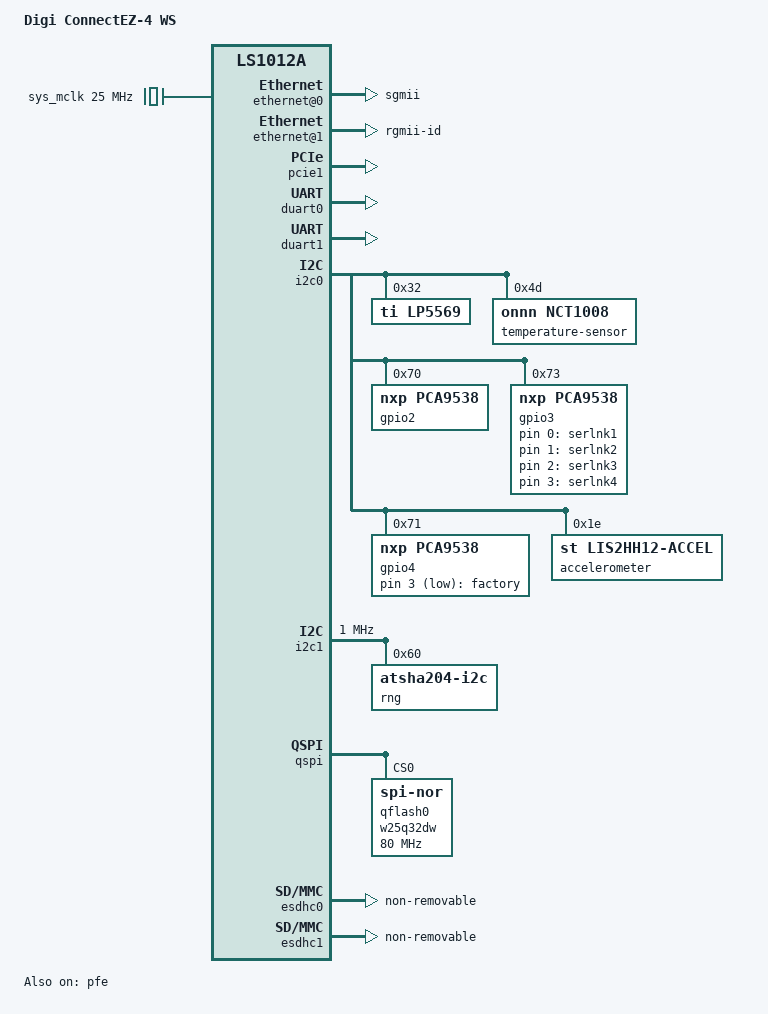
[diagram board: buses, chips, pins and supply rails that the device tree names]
// SPDX-License-Identifier: (GPL-2.0+ OR MIT)
/*
 * Device Tree Include file for Digi ConnectEZ-4.
 *
 * Copyright 2016 Freescale Semiconductor, Inc.
 * Copyright 2018 Digi Inc.
 *
 * Mingkai Hu <mingkai.hu@nxp.com>
 * Greg Ungerer <gregory.ungerer@digi.com>
 */

/dts-v1/;
#include "fsl-ls1012a.dtsi"
#include <dt-bindings/interrupt-controller/arm-gic.h>
#include <dt-bindings/gpio/gpio.h>
#include <dt-bindings/input/input.h>
#include <dt-bindings/leds/common.h>

/ {
	model = "Digi ConnectEZ-4 WS";
	compatible = "digi,connectez4ws", "digi,connectez", "fsl,ls1012a";

	aliases {
		serial0 = &duart0;
		serial1 = &duart1;
	};

	chosen {
		stdout-path = "serial1:115200n8";
	};

	sys_mclk: clock-mclk {
		compatible = "fixed-clock";
		#clock-cells = <0>;
		clock-frequency = <25000000>;
	};

	soc {
		rcpm@1ee2000 {
			compatible = "fsl,ls1012a-rcpm", "fsl,qoriq-rcpm-2.1";
			reg = <0x0 0x1ee2000 0x0 0x1000>;
			fsl,#rcpm-wakeup-cells = <1>;
		};
	};

	reserved-memory {
		#address-cells = <2>;
		#size-cells = <2>;
		ranges;

		pfe_reserved: packetbuffer@83400000 {
			reg = <0 0x83400000 0 0xc00000>;
		};

		/*
		* 64KiB reserved for pstore (ramoops).
		* phys mem 0x0000000080000000-0x000000008bdfefff
		*/
		ramoops@8bdfdfff {
			compatible = "ramoops";
			reg = <0 0x8b000000 0 0x10000>;
			ecc-size = <16>;
			record-size = <0x1000>;
			console-size = <0x1000>;
		};
	};

	pfe: pfe@4000000 {
		status = "okay";
		compatible = "fsl,pfe";
		reg =	<0x0 0x04000000 0x0 0xc00000>,	/* AXI 16M */
			<0x0 0x83400000 0x0 0xc00000>;	/* PFE DDR 12M */
		reg-names = "pfe", "pfe-ddr";
		fsl,pfe-num-interfaces = <0x2>;
		interrupts = <0 172 0x4>,	 /* HIF interrupt */
				 <0 173 0x4>,	 /*HIF_NOCPY interrupt */
				 <0 174 0x4>;	 /* WoL interrupt */
		interrupt-names = "pfe_hif", "pfe_hif_nocpy", "pfe_wol";
		memory-region = <&pfe_reserved>;
		fsl,pfe-scfg = <&scfg 0>;
		fsl,rcpm-wakeup = <&rcpm 0xf0000020>;
		clocks = <&clockgen 4 0>;
		clock-names = "pfe";
	};

	gpio-keys {
		compatible = "gpio-keys-polled";
		poll-interval = <100>; /* msec */

		factory-button {
			label = "factory";
			linux,code = <KEY_DELETE>;
			gpios = <&gpio4 3 GPIO_ACTIVE_LOW>;
		};
	};

	leds {
		compatible = "gpio-leds";

		ser1link {
			label = "serlnk1";
			gpios = <&gpio3 0 GPIO_ACTIVE_HIGH>;
			linux,default-trigger = "none";
			default-state = "off";
		};

		ser2link {
			label = "serlnk2";
			gpios = <&gpio3 1 GPIO_ACTIVE_HIGH>;
			linux,default-trigger = "none";
			default-state = "off";
		};

		ser3link {
			label = "serlnk3";
			gpios = <&gpio3 2 GPIO_ACTIVE_HIGH>;
			linux,default-trigger = "none";
			default-state = "off";
		};

		ser4link {
			label = "serlnk4";
			gpios = <&gpio3 3 GPIO_ACTIVE_HIGH>;
			linux,default-trigger = "none";
			default-state = "off";
		};
	};
};

&pcie1 {
	status = "okay";
};

&duart0 {
	status = "okay";
};

&duart1 {
	status = "okay";
};

&i2c0 {
	status = "okay";

	lp5569a:lp5569@32 {
		compatible = "ti,lp5569";
		reg = <0x32>;
		label = "lp5569";
		clock-mode = /bits/ 8 <1>;	/* internal */
		gpio-strobe-sec = /bits/ 8 <0x4>; /* strobe gpio every 4 seconds for external watchdog */
		#address-cells = <1>;
		#size-cells = <0>;

		chan0 {
			chan-name = "pwrb";
			led-cur = /bits/ 8 <0x18>;	/* 2.4mA */
			max-cur = /bits/ 8 <0x18>;	/* 2.4mA */
			invert = /bits/ 8 <0x01>;	/* inverted LED */
			color = <LED_COLOR_ID_BLUE>;
			reg = <0>;
			linux,default-trigger = "timer";
		};

		chan1 {
			chan-name = "pwrg";
			led-cur = /bits/ 8 <0x03>;	/* 0.3mA */
			max-cur = /bits/ 8 <0x18>;	/* 2.4mA */
			color = <LED_COLOR_ID_GREEN>;
			reg = <1>;
			linux,default-trigger = "timer";
		};

		chan2 {
			chan-name = "pwrr";
			led-cur = /bits/ 8 <0x18>;	/* 2.4mA */
			max-cur = /bits/ 8 <0x18>;	/* 2.4mA */
			color = <LED_COLOR_ID_RED>;
			reg = <2>;
			linux,default-trigger = "timer";
		};
		
		chan3 {
			chan-name = "wifib";
			led-cur = /bits/ 8 <0x18>;	/* 2.4mA */
			max-cur = /bits/ 8 <0x18>;	/* 2.4mA */
			color = <LED_COLOR_ID_BLUE>;
			reg = <3>;
			linux,default-trigger = "timer";
		};

		chan4 {
			chan-name = "wifig";
			led-cur = /bits/ 8 <0x03>;	/* 0.3mA */
			max-cur = /bits/ 8 <0x18>;	/* 2.4mA */
			color = <LED_COLOR_ID_GREEN>;
			reg = <4>;
			linux,default-trigger = "timer";
		};

		chan5 {
			chan-name = "wifir";
			led-cur = /bits/ 8 <0x18>;	/* 2.4mA */
			max-cur = /bits/ 8 <0x18>;	/* 2.4mA */
			color = <LED_COLOR_ID_RED>;
			reg = <5>;
			linux,default-trigger = "timer";
		};

		chan6 {
			chan-name = "userb";
			led-cur = /bits/ 8 <0x18>;	/* 2.4mA */
			max-cur = /bits/ 8 <0x18>;	/* 2.4mA */
			color = <LED_COLOR_ID_BLUE>;
			reg = <6>;
			linux,default-trigger = "timer";
		};

		chan7 {
			chan-name = "userg";
			led-cur = /bits/ 8 <0x03>;	/* 0.3mA */
			max-cur = /bits/ 8 <0x18>;	/* 2.4mA */
			color = <LED_COLOR_ID_GREEN>;
			reg = <7>;
			linux,default-trigger = "timer";
		};

		chan8 {
			chan-name = "userr";
			led-cur = /bits/ 8 <0x18>;	/* 2.4mA */
			max-cur = /bits/ 8 <0x18>;	/* 2.4mA */
			color = <LED_COLOR_ID_RED>;
			reg = <8>;
			linux,default-trigger = "timer";
		};

	};

	temperature-sensor@4d {
		compatible = "onnn,nct1008"; /* nct72 reg/pin compatible */
		reg = <0x4d>;
	};

	gpio2: pca9538@70 {
		compatible = "nxp,pca9538";
		reg = <0x70>;
		pinctrl-names = "default";
		gpio-controller;
		#gpio-cells = <2>;
		gpio-line-names = "term1", "term2", "term3", "term4", "4w2w1", "4w2w2", "4w2w3", "4w2w4";
	};

	gpio3: pca9538@73 {
		compatible = "nxp,pca9538";
		reg = <0x73>;
		pinctrl-names = "default";
		gpio-controller;
		#gpio-cells = <2>;
		/* 0 - 3 = serlnk1-4 LED */
		gpio-line-names = "", "", "", "", "otp_fuse", "wlan_dev_wake", "wlan_rst", "wlan_pdn";
	};

	gpio4: pca9538@71 {
		compatible = "nxp,pca9538";
		reg = <0x71>;
		pinctrl-names = "default";
		gpio-controller;
		#gpio-cells = <2>;
		gpio-line-names = "", "developer_", "wlan_wake_host", "factory", "manuf", "temp_alert", "pmic_int", "sun_break";
	};

	accelerometer@1e {
		compatible = "st,lis2hh12-accel";
		reg = <0x1e>;
	};
};


&i2c1 {
	clock-frequency = <1000000>;
	status = "okay";

	rng: atecc508a@60 {
		compatible = "atsha204-i2c";
		reg = <0x60>;
	};
};

&qspi {
	num-cs = <1>;
	bus-num = <0>;
	status = "okay";

	qflash0: w25q32dw@0 {
		compatible = "jedec,spi-nor";
		#address-cells = <1>;
		#size-cells = <1>;
		spi-max-frequency = <80000000>;
		spi-rx-bus-width = <1>;
		spi-tx-bus-width = <1>;
		reg = <0>;
	};
};

&pfe {
	status = "okay";
	#address-cells = <1>;
	#size-cells = <0>;

	ethernet@0 {
		compatible = "fsl,pfe-gemac-port";
		#address-cells = <1>;
		#size-cells = <0>;
		reg = <0x0>;	/* GEM_ID */
		fsl,gemac-bus-id = <0x0>; /* BUS_ID */
		fsl,gemac-phy-id = <0x0>; /* PHY_ID */
		fsl,mdio-mux-val = <0x0>;
		phy-mode = "sgmii"; /* use strapped tx/rx delay */
		fsl,pfe-phy-if-flags = <0x0>;

		mdio {
			reg = <0x1>; /* enabled/disabled */
		};
	};

	ethernet@1 {
		compatible = "fsl,pfe-gemac-port";
		#address-cells = <1>;
		#size-cells = <0>;
		reg = <0x1>;	/* GEM_ID */
		fsl,gemac-bus-id = <0x0>; /* BUS_ID */
		fsl,gemac-phy-id = <0x1>; /* PHY_ID */
		fsl,mdio-mux-val = <0x0>;
		phy-mode = "rgmii-id"; /* use strapped tx/rx delay */
		fsl,pfe-phy-if-flags = <0x0>;

		mdio {
			reg = <0x1>; /* enabled/disabled */
		};
	};
};

&esdhc0 {
	sd-uhs-sdr104;
	non-removable;
	status = "okay";
};

&esdhc1 {
	mmc-hs200-1_8v;
	non-removable;
	status = "okay";
};

&gpio0 {
	gpio-line-names = "", "", "", "", "", "", "", "",
			  "", "", "", "", "", "", "", "",
			  "", "", "", "", "", "", "", "",
			  "", "", "", "", "", "", "", "";
};
